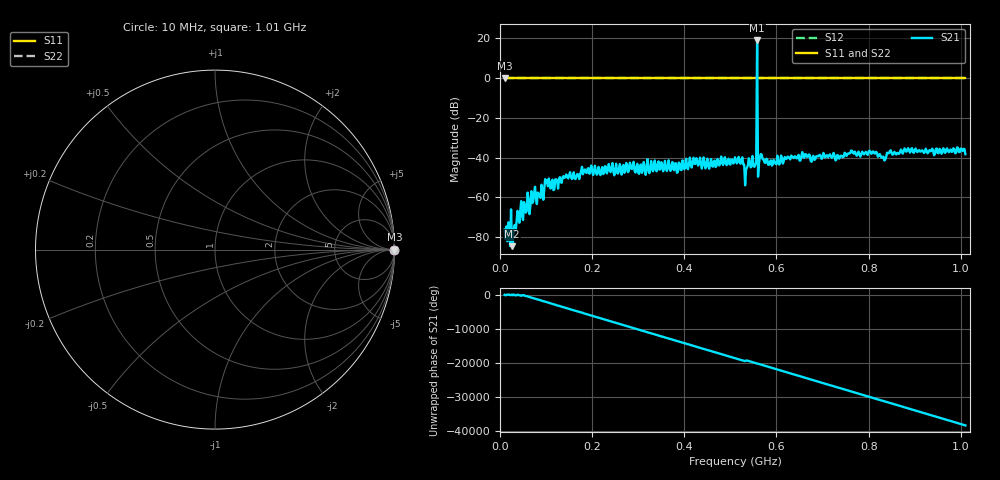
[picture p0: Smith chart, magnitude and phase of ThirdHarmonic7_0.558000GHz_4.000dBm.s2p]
! 8/17/2025 5:03:01 PM
! C:\ANRITSUVNA\TEMP\TEMP.S2P
! CHANNEL.1
! TR.MEASUREMENT
! RAW.DATA
! RF.CORRECTION.OFF
! AVERAGING.OFF
! IF.BANDWIDTH: 5KHZ
! SWEEPTYPE:  FREQ.SWEEP(Linear)
! Reference Plane Port Info
! PORT:  PORT1  PORT2
! DISTANCE:  0  m  0  m
! TIME:  0  s  0  s
! PHASE.OFFSET:  0  deg.  0  deg.
! LOSS:  0  dB  0  dB
! REF.LOSS:  0  dB  0  dB
! REF.FREQ:  0  Hz  0  Hz
! Power Info
! POWER:  -20  dBm  -20  dBm
! EFF.POWER:  -20  dBm  -20  dBm
! SOURCE.ATTEN:  0  dB  0  dB
! TEST.ATTEN:  0  dB  0  dB
# GHZ S RI R 50.0
! FREQ.GHZ  S11RE  S11IM  S21RE  S21IM  S12RE  S12IM  S22RE  S22IM
!; PortSelection: Port_12
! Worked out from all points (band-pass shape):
!   501 points, 10 MHz to 1.01 GHz, reference 50 ohm
!   highest |S21| = 18.83 dB at 558 MHz (marker M1); lowest = -84.5 dB at 26 MHz (marker M2)
!   |S21| within 3 dB of the highest: 557.9022 MHz to 558.0876 MHz (185.4 kHz wide, 0.0332 % of centre)
!   lowest |S11| = 0.0 dB at 10 MHz (marker M3)
!   |S11| at or under -10 dB: nowhere
!   |S22| runs from 0.0 to 0.0 dB; largest |S21 - S12| = 8.8
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0.01  1 0  6.87e-05 0.00014  1 0  1 0
0.026  1 0  -4.1e-05 4.28e-05  1 0  1 0
0.03  1 0  -0.000108 0.000121  1 0  1 0
0.042  1 0  0.00011 -0.000202  1 0  1 0
0.072  1 0  -0.000753 0.000226  1 0  1 0
0.084  1 0  0.00117 0.000402  1 0  1 0
0.102  1 0  0.00176 0.00202  1 0  1 0
0.114  1 0  -0.000838 -0.00266  1 0  1 0
0.178  1 0  0.000899 -0.00579  1 0  1 0
0.344  1 0  0.00788 -0.00137  1 0  1 0
0.51  1 0  -0.00968 -0.00308  1 0  1 0
0.522  1 0  0.00258 0.00651  1 0  1 0
0.534  1 0  -0.00411 -0.00296  1 0  1 0
0.552  1 0  0.0034 -0.00473  1 0  1 0
0.554  1 0  -0.00304 -0.00589  1 0  1 0
0.558  1 0  0.3214 8.737  1 0  1 0
0.562  1 0  0.00234 -0.00675  1 0  1 0
0.564  1 0  -0.0092 -0.00459  1 0  1 0
0.678  1 0  0.00606 -0.00821  1 0  1 0
0.832  1 0  -0.00799 -0.00689  1 0  1 0
0.844  1 0  -0.00566 0.0115  1 0  1 0
1.01  1 0  -0.0017 -0.012  1 0  1 0
